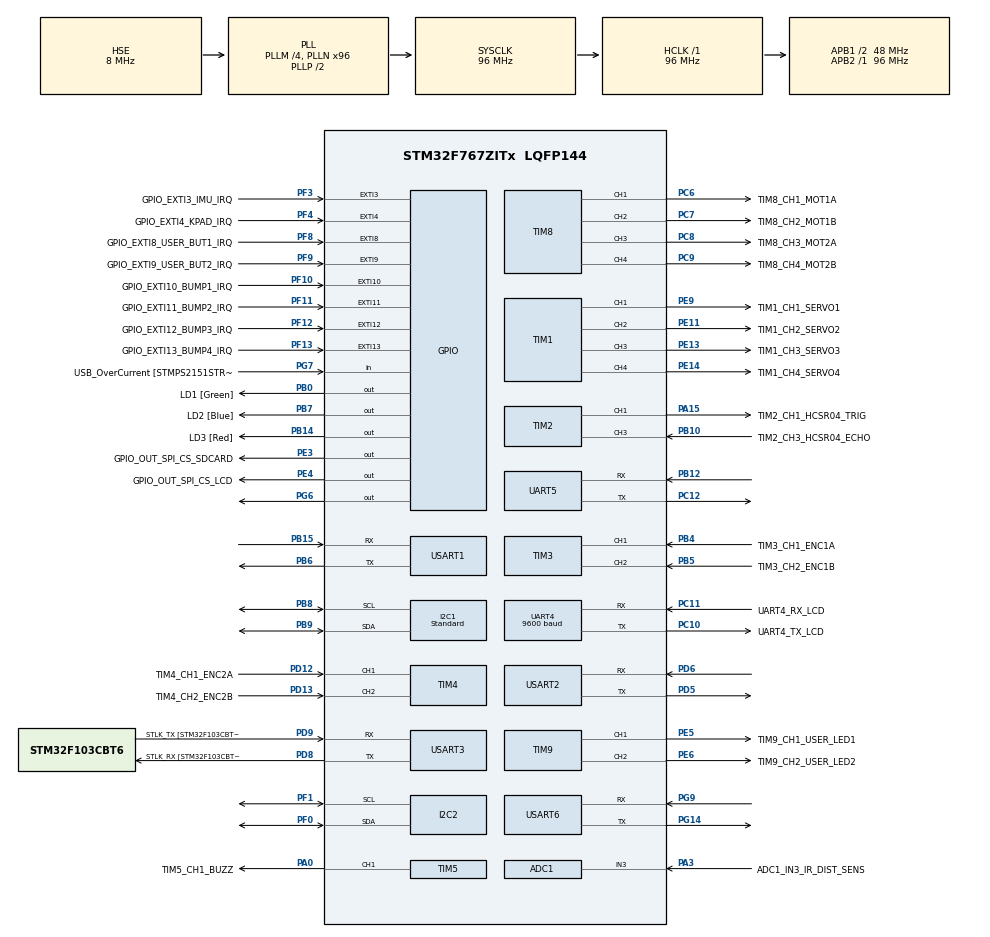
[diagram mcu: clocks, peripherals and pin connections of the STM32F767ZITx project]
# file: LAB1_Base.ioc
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ADC1.Channel-1\#ChannelRegularConversion=ADC_CHANNEL_3
ADC1.NbrOfConversionFlag=1
ADC1.Rank-1\#ChannelRegularConversion=1
ADC1.SamplingTime-1\#ChannelRegularConversion=ADC_SAMPLETIME_3CYCLES
ADC1.master=1
I2C1.I2C_Speed_Mode=I2C_Standard
I2C1.Timing=0x20303E5D
I2C2.Timing=0x20303E5D
Mcu.Family=STM32F7
Mcu.Name=STM32F767ZITx
Mcu.Package=LQFP144
Mcu.UserConstants=TIM8_PSC_VALUE,959;TIM8_ARR_VALUE,400;TIM1_PSC_VALUE,959;TIM1_ARR_VALUE,200
NVIC.EXTI4_IRQn=true\:1\:0\:true\:false\:true\:true\:true\:true
NVIC.PriorityGroup=NVIC_PRIORITYGROUP_4
PA0/WKUP.GPIO_Label=TIM5_CH1_BUZZ
PA0/WKUP.Signal=S_TIM5_CH1
PA1.GPIO_Label=RMII_REF_CLK [LAN8742A-CZ-TR_REFCLK0]
PA1.Signal=ETH_REF_CLK
PA10.GPIO_Label=USB_ID
PA10.Signal=USB_OTG_FS_ID
PA11.GPIO_Label=USB_DM
PA11.Signal=USB_OTG_FS_DM
PA12.GPIO_Label=USB_DP
PA12.Signal=USB_OTG_FS_DP
PA13.GPIO_Label=TMS
PA13.Mode=Serial_Wire
PA13.Signal=SYS_JTMS-SWDIO
PA14.GPIO_Label=TCK
PA14.Mode=Serial_Wire
PA14.Signal=SYS_JTCK-SWCLK
PA15.GPIO_Label=TIM2_CH1_HCSR04_TRIG
PA15.Signal=S_TIM2_CH1_ETR
PA2.GPIO_Label=RMII_MDIO [LAN8742A-CZ-TR_MDIO]
PA2.Signal=ETH_MDIO
PA3.GPIO_Label=ADC1_IN3_IR_DIST_SENS
PA3.Signal=ADCx_IN3
PA7.GPIO_Label=RMII_CRS_DV [LAN8742A-CZ-TR_CRS_DV]
PA7.Signal=ETH_CRS_DV
PA8.GPIO_Label=USB_SOF [TP1]
PA8.Signal=USB_OTG_FS_SOF
PA9.GPIO_Label=USB_VBUS
PA9.Signal=USB_OTG_FS_VBUS
PB0.GPIO_Label=LD1 [Green]
PB0.Signal=GPIO_Output
PB10.GPIO_Label=TIM2_CH3_HCSR04_ECHO
PB10.Signal=S_TIM2_CH3
PB12.Mode=Asynchronous
PB12.Signal=UART5_RX
PB13.GPIO_Label=RMII_TXD1 [LAN8742A-CZ-TR_TXD1]
PB13.Signal=ETH_TXD1
PB14.GPIO_Label=LD3 [Red]
PB14.Signal=GPIO_Output
PB15.Mode=Asynchronous
PB15.Signal=USART1_RX
PB3.GPIO_Label=SWO
PB3.Signal=SYS_JTDO-SWO
PB4.GPIO_Label=TIM3_CH1_ENC1A
PB4.Signal=S_TIM3_CH1
PB5.GPIO_Label=TIM3_CH2_ENC1B
PB5.Signal=S_TIM3_CH2
PB6.Mode=Asynchronous
PB6.Signal=USART1_TX
PB7.GPIO_Label=LD2 [Blue]
PB7.Signal=GPIO_Output
PB8.GPIO_Pu=GPIO_PULLUP
PB8.Mode=I2C
PB8.Signal=I2C1_SCL
PB9.GPIO_Pu=GPIO_PULLUP
PB9.Mode=I2C
PB9.Signal=I2C1_SDA
PC1.GPIO_Label=RMII_MDC [LAN8742A-CZ-TR_MDC]
PC1.Signal=ETH_MDC
PC10.GPIO_Label=UART4_TX_LCD
PC10.Mode=Asynchronous
PC10.Signal=UART4_TX
PC11.GPIO_Label=UART4_RX_LCD
PC11.Mode=Asynchronous
PC11.Signal=UART4_RX
PC12.Mode=Asynchronous
PC12.Signal=UART5_TX
PC14/OSC32_IN.Mode=LSE-External-Oscillator
PC14/OSC32_IN.Signal=RCC_OSC32_IN
PC15/OSC32_OUT.Mode=LSE-External-Oscillator
PC15/OSC32_OUT.Signal=RCC_OSC32_OUT
PC4.GPIO_Label=RMII_RXD0 [LAN8742A-CZ-TR_RXD0]
PC4.Signal=ETH_RXD0
PC5.GPIO_Label=RMII_RXD1 [LAN8742A-CZ-TR_RXD1]
PC5.Signal=ETH_RXD1
PC6.GPIO_Label=TIM8_CH1_MOT1A
PC6.Signal=S_TIM8_CH1
PC7.GPIO_Label=TIM8_CH2_MOT1B
PC7.Signal=S_TIM8_CH2
PC8.GPIO_Label=TIM8_CH3_MOT2A
PC8.Signal=S_TIM8_CH3
PC9.GPIO_Label=TIM8_CH4_MOT2B
PC9.Signal=S_TIM8_CH4
PD12.GPIO_Label=TIM4_CH1_ENC2A
PD12.Signal=S_TIM4_CH1
PD13.GPIO_Label=TIM4_CH2_ENC2B
PD13.Signal=S_TIM4_CH2
PD5.Mode=Asynchronous
PD5.Signal=USART2_TX
PD6.Mode=Asynchronous
PD6.Signal=USART2_RX
PD8.GPIO_Label=STLK_RX [STM32F103CBT6_PA3]
PD8.Mode=Asynchronous
PD8.Signal=USART3_TX
PD9.GPIO_Label=STLK_TX [STM32F103CBT6_PA2]
PD9.Mode=Asynchronous
PD9.Signal=USART3_RX
PE11.GPIO_Label=TIM1_CH2_SERVO2
PE11.Signal=S_TIM1_CH2
PE13.GPIO_Label=TIM1_CH3_SERVO3
PE13.Signal=S_TIM1_CH3
PE14.GPIO_Label=TIM1_CH4_SERVO4
PE14.Signal=S_TIM1_CH4
PE3.GPIO_Label=GPIO_OUT_SPI_CS_SDCARD
PE3.Signal=GPIO_Output
PE4.GPIO_Label=GPIO_OUT_SPI_CS_LCD
PE4.Signal=GPIO_Output
PE5.GPIO_Label=TIM9_CH1_USER_LED1
PE5.Signal=S_TIM9_CH1
PE6.GPIO_Label=TIM9_CH2_USER_LED2
PE6.Signal=S_TIM9_CH2
PE9.GPIO_Label=TIM1_CH1_SERVO1
PE9.Signal=S_TIM1_CH1
PF0.GPIO_Pu=GPIO_PULLUP
PF0.Mode=I2C
PF0.Signal=I2C2_SDA
PF1.GPIO_Pu=GPIO_PULLUP
PF1.Mode=I2C
PF1.Signal=I2C2_SCL
PF10.GPIO_Label=GPIO_EXTI10_BUMP1_IRQ
PF10.Signal=GPXTI10
PF11.GPIO_Label=GPIO_EXTI11_BUMP2_IRQ
PF11.Signal=GPXTI11
PF12.GPIO_Label=GPIO_EXTI12_BUMP3_IRQ
PF12.Signal=GPXTI12
PF13.GPIO_Label=GPIO_EXTI13_BUMP4_IRQ
PF13.Signal=GPXTI13
PF3.GPIO_Label=GPIO_EXTI3_IMU_IRQ
PF3.Signal=GPXTI3
PF4.GPIO_Label=GPIO_EXTI4_KPAD_IRQ
PF4.GPIO_ModeDefaultEXTI=GPIO_MODE_IT_FALLING
PF4.Signal=GPXTI4
PF8.GPIO_Label=GPIO_EXTI8_USER_BUT1_IRQ
PF8.Signal=GPXTI8
PF9.GPIO_Label=GPIO_EXTI9_USER_BUT2_IRQ
PF9.Signal=GPXTI9
PG11.GPIO_Label=RMII_TX_EN [LAN8742A-CZ-TR_TXEN]
PG11.Signal=ETH_TX_EN
PG13.GPIO_Label=RMII_TXD0 [LAN8742A-CZ-TR_TXD0]
PG13.Signal=ETH_TXD0
PG14.Mode=Asynchronous
PG14.Signal=USART6_TX
PG6.Signal=GPIO_Output
PG7.GPIO_Label=USB_OverCurrent [STMPS2151STR_FAULT]
PG7.Signal=GPIO_Input
PG9.Mode=Asynchronous
PG9.Signal=USART6_RX
PH0/OSC_IN.GPIO_Label=MCO [STM32F103CBT6_PA8]
PH0/OSC_IN.Mode=HSE-External-Clock-Source
PH0/OSC_IN.Signal=RCC_OSC_IN
PH1/OSC_OUT.Mode=HSE-External-Clock-Source
PH1/OSC_OUT.Signal=RCC_OSC_OUT
ProjectManager.HeapSize=0x200
ProjectManager.StackSize=0x400
ProjectManager.TargetToolchain=STM32CubeIDE
RCC.48MHZClocksFreq_Value=24000000
RCC.AHBFreq_Value=96000000
RCC.APB1CLKDivider=RCC_HCLK_DIV2
RCC.APB1Freq_Value=48000000
RCC.APB1TimFreq_Value=96000000
RCC.APB2Freq_Value=96000000
RCC.APB2TimFreq_Value=96000000
RCC.CortexFreq_Value=96000000
RCC.HCLKFreq_Value=96000000
RCC.HSE_VALUE=8000000
RCC.HSI_VALUE=16000000
RCC.PLLM=4
RCC.PLLMUL=RCC_PLL_MUL9
RCC.PLLN=96
RCC.PLLQ=4
RCC.PLLSourceVirtual=RCC_PLLSOURCE_HSE
RCC.PRESCALERUSB=RCC_USBCLKSOURCE_PLL_DIV1_5
RCC.SYSCLKFreq_VALUE=96000000
RCC.SYSCLKSource=RCC_SYSCLKSOURCE_PLLCLK
RCC.SYSCLKSourceVirtual=RCC_SYSCLKSOURCE_PLLCLK
RCC.USBFreq_Value=48000000
RCC.VCOOutputFreq_Value=192000000
SH.ADCx_IN3.0=ADC1_IN3,IN3
SH.S_TIM1_CH1.0=TIM1_CH1,PWM Generation1 CH1
SH.S_TIM1_CH2.0=TIM1_CH2,PWM Generation2 CH2
SH.S_TIM1_CH3.0=TIM1_CH3,PWM Generation3 CH3
SH.S_TIM1_CH4.0=TIM1_CH4,PWM Generation4 CH4
SH.S_TIM2_CH1_ETR.0=TIM2_CH1,PWM Generation1 CH1
SH.S_TIM2_CH3.0=TIM2_CH3,Input_Capture3_from_TI3
SH.S_TIM3_CH1.0=TIM3_CH1,Encoder_Interface
SH.S_TIM3_CH2.0=TIM3_CH2,Encoder_Interface
SH.S_TIM4_CH1.0=TIM4_CH1,Encoder_Interface
SH.S_TIM4_CH2.0=TIM4_CH2,Encoder_Interface
SH.S_TIM5_CH1.0=TIM5_CH1,PWM Generation1 CH1
SH.S_TIM8_CH1.0=TIM8_CH1,PWM Generation1 CH1
SH.S_TIM8_CH2.0=TIM8_CH2,PWM Generation2 CH2
SH.S_TIM8_CH3.0=TIM8_CH3,PWM Generation3 CH3
SH.S_TIM8_CH4.0=TIM8_CH4,PWM Generation4 CH4
SH.S_TIM9_CH1.0=TIM9_CH1,PWM Generation1 CH1
SH.S_TIM9_CH2.0=TIM9_CH2,PWM Generation2 CH2
TIM1.Channel-PWM\ Generation1\ CH1=TIM_CHANNEL_1
TIM1.Channel-PWM\ Generation2\ CH2=TIM_CHANNEL_2
TIM1.Channel-PWM\ Generation3\ CH3=TIM_CHANNEL_3
TIM1.Channel-PWM\ Generation4\ CH4=TIM_CHANNEL_4
TIM1.Period=TIM1_ARR_VALUE
TIM1.Prescaler=TIM1_PSC_VALUE
TIM2.Channel-Input_Capture3_from_TI3=TIM_CHANNEL_3
TIM2.Channel-PWM\ Generation1\ CH1=TIM_CHANNEL_1
TIM5.Channel-PWM\ Generation1\ CH1=TIM_CHANNEL_1
TIM8.Channel-PWM\ Generation1\ CH1=TIM_CHANNEL_1
TIM8.Channel-PWM\ Generation2\ CH2=TIM_CHANNEL_2
TIM8.Channel-PWM\ Generation3\ CH3=TIM_CHANNEL_3
TIM8.Channel-PWM\ Generation4\ CH4=TIM_CHANNEL_4
TIM8.Period=TIM8_ARR_VALUE
TIM8.Prescaler=TIM8_PSC_VALUE
TIM9.Channel-PWM\ Generation1\ CH1=TIM_CHANNEL_1
TIM9.Channel-PWM\ Generation2\ CH2=TIM_CHANNEL_2
UART4.BaudRate=9600
USART1.VirtualMode-Asynchronous=VM_ASYNC
USART2.VirtualMode-Asynchronous=VM_ASYNC
USART3.VirtualMode-Asynchronous=VM_ASYNC
USART6.VirtualMode-Asynchronous=VM_ASYNC
VP_TIM1_VS_ClockSourceINT.Mode=Internal
VP_TIM2_VS_ClockSourceINT.Mode=Internal
VP_TIM5_VS_ClockSourceINT.Mode=Internal
VP_TIM8_VS_ClockSourceINT.Mode=Internal
board=NUCLEO-F767ZI

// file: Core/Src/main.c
/* USER CODE BEGIN Header */
/**
 ******************************************************************************
 * @file           : main.c
 * @brief          : Main program body
 ******************************************************************************
 * @attention
 *
 * <h2><center>&copy; Copyright (c) 2021 STMicroelectronics.
 * All rights reserved.</center></h2>
 *
 * This software component is licensed by ST under BSD 3-Clause license,
 * the "License"; You may not use this file except in compliance with the
 * License. You may obtain a copy of the License at:
 *                        opensource.org/licenses/BSD-3-Clause
 *
 ******************************************************************************
 */
/* USER CODE END Header */
#include "main.h"

/* USER CODE BEGIN Includes */

/*** NEEDED FOR ENABLING PRINTF ***/
#include <stdio.h>
#include <string.h>
#include "print_utils.h"

/*** NEEDED FOR COMMUNICATING WITH THE SX1509 ***/
#include "SX1509_Registers.h"
#include "SX1509_Utils.h"
/* USER CODE END Includes */

/* USER CODE BEGIN PD */
uint8_t data = 0;
/* USER CODE END PD */

ADC_HandleTypeDef hadc1;

I2C_HandleTypeDef hi2c1;
I2C_HandleTypeDef hi2c2;

TIM_HandleTypeDef htim1;
TIM_HandleTypeDef htim2;
TIM_HandleTypeDef htim3;
TIM_HandleTypeDef htim4;
TIM_HandleTypeDef htim5;
TIM_HandleTypeDef htim8;
TIM_HandleTypeDef htim9;

UART_HandleTypeDef huart4;
UART_HandleTypeDef huart5;
UART_HandleTypeDef huart1;
UART_HandleTypeDef huart2;
UART_HandleTypeDef huart3;
UART_HandleTypeDef huart6;

/* USER CODE BEGIN PV */
const char keypadLayout[4][4] = {
    {'*', '0', '#', 'D'},
    {'7', '8', '9', 'C'},
    {'4', '5', '6', 'B'},
    {'1', '2', '3', 'A'}};
/* USER CODE END PV */

void SystemClock_Config(void);
static void MX_GPIO_Init(void);
static void MX_USART3_UART_Init(void);
static void MX_ADC1_Init(void);
static void MX_I2C1_Init(void);
static void MX_I2C2_Init(void);
static void MX_TIM1_Init(void);
static void MX_TIM2_Init(void);
static void MX_TIM3_Init(void);
static void MX_TIM4_Init(void);
static void MX_TIM5_Init(void);
static void MX_TIM8_Init(void);
static void MX_UART4_Init(void);
static void MX_UART5_Init(void);
static void MX_USART1_UART_Init(void);
static void MX_USART2_UART_Init(void);
static void MX_TIM9_Init(void);
static void MX_USART6_UART_Init(void);

/* USER CODE BEGIN 0 */

void HAL_GPIO_EXTI_Callback(uint16_t GPIO_Pin)
{
	printf("Interrupt on pin (%d).\n", GPIO_Pin);

	if (GPIO_Pin == GPIO_PIN_4)
	{
    /* Keypad interrupt */
    /**
     * Here you need to read REG_KEY_DATA_1 (status of the column of the keypad) and REG_KEY_DATA_2 (status of the row of the keypad).
     * The addresses of the register are defined in the SX1509_Registers.h file.
     * If you don't read the registers, the interrupt will be NOT triggered again.
     * For an example of how to read/write the registers, see the Init_SX1509 function in the SX1509_Utils.h file.
     */
	  printf("Interrupt from the keypad\n");
	}

}

/* USER CODE END 0 */

int main(void)
{

  /* MCU Configuration--------------------------------------------------------*/

  /* Reset of all peripherals, Initializes the Flash interface and the Systick. */
  HAL_Init();

  /* Configure the system clock */
  SystemClock_Config();

  /* Initialize all configured peripherals */
  MX_GPIO_Init();
  MX_USART3_UART_Init();
  MX_ADC1_Init();
  MX_I2C1_Init();
  MX_I2C2_Init();
  MX_TIM1_Init();
  MX_TIM2_Init();
  MX_TIM3_Init();
  MX_TIM4_Init();
  MX_TIM5_Init();
  MX_TIM8_Init();
  MX_UART4_Init();
  MX_UART5_Init();
  MX_USART1_UART_Init();
  MX_USART2_UART_Init();
  MX_TIM9_Init();
  MX_USART6_UART_Init();
  /* USER CODE BEGIN 2 */

  /* Disable LCD SPI SS */
  HAL_GPIO_WritePin(GPIO_OUT_SPI_CS_LCD_GPIO_Port, GPIO_OUT_SPI_CS_LCD_Pin, GPIO_PIN_SET);

  Init_SX1509();

  printf("Ready\n");

  /* USER CODE END 2 */

  /* Infinite loop */
  while (1)
  {

  }
}

void SystemClock_Config(void)
{
  RCC_OscInitTypeDef RCC_OscInitStruct = {0};
  RCC_ClkInitTypeDef RCC_ClkInitStruct = {0};

  /** Configure LSE Drive Capability
  */
  HAL_PWR_EnableBkUpAccess();

  /** Configure the main internal regulator output voltage
  */
  __HAL_RCC_PWR_CLK_ENABLE();
  __HAL_PWR_VOLTAGESCALING_CONFIG(PWR_REGULATOR_VOLTAGE_SCALE3);

  /** Initializes the RCC Oscillators according to the specified parameters
  * in the RCC_OscInitTypeDef structure.
  */
  RCC_OscInitStruct.OscillatorType = RCC_OSCILLATORTYPE_HSE;
  RCC_OscInitStruct.HSEState = RCC_HSE_BYPASS;
  RCC_OscInitStruct.PLL.PLLState = RCC_PLL_ON;
  RCC_OscInitStruct.PLL.PLLSource = RCC_PLLSOURCE_HSE;
  RCC_OscInitStruct.PLL.PLLM = 4;
  RCC_OscInitStruct.PLL.PLLN = 96;
  RCC_OscInitStruct.PLL.PLLP = RCC_PLLP_DIV2;
  RCC_OscInitStruct.PLL.PLLQ = 4;
  RCC_OscInitStruct.PLL.PLLR = 2;
  if (HAL_RCC_OscConfig(&RCC_OscInitStruct) != HAL_OK)
  {
    Error_Handler();
  }

  /** Activate the Over-Drive mode
  */
  if (HAL_PWREx_EnableOverDrive() != HAL_OK)
  {
    Error_Handler();
  }

  /** Initializes the CPU, AHB and APB buses clocks
  */
  RCC_ClkInitStruct.ClockType = RCC_CLOCKTYPE_HCLK|RCC_CLOCKTYPE_SYSCLK
                              |RCC_CLOCKTYPE_PCLK1|RCC_CLOCKTYPE_PCLK2;
  RCC_ClkInitStruct.SYSCLKSource = RCC_SYSCLKSOURCE_PLLCLK;
  RCC_ClkInitStruct.AHBCLKDivider = RCC_SYSCLK_DIV1;
  RCC_ClkInitStruct.APB1CLKDivider = RCC_HCLK_DIV2;
  RCC_ClkInitStruct.APB2CLKDivider = RCC_HCLK_DIV1;

  if (HAL_RCC_ClockConfig(&RCC_ClkInitStruct, FLASH_LATENCY_3) != HAL_OK)
  {
    Error_Handler();
  }
}

static void MX_ADC1_Init(void)
{

  ADC_ChannelConfTypeDef sConfig = {0};

  /** Configure the global features of the ADC (Clock, Resolution, Data Alignment and number of conversion)
  */
  hadc1.Instance = ADC1;
  hadc1.Init.ClockPrescaler = ADC_CLOCK_SYNC_PCLK_DIV4;
  hadc1.Init.Resolution = ADC_RESOLUTION_12B;
  hadc1.Init.ScanConvMode = ADC_SCAN_DISABLE;
  hadc1.Init.ContinuousConvMode = DISABLE;
  hadc1.Init.DiscontinuousConvMode = DISABLE;
  hadc1.Init.ExternalTrigConvEdge = ADC_EXTERNALTRIGCONVEDGE_NONE;
  hadc1.Init.ExternalTrigConv = ADC_SOFTWARE_START;
  hadc1.Init.DataAlign = ADC_DATAALIGN_RIGHT;
  hadc1.Init.NbrOfConversion = 1;
  hadc1.Init.DMAContinuousRequests = DISABLE;
  hadc1.Init.EOCSelection = ADC_EOC_SINGLE_CONV;
  if (HAL_ADC_Init(&hadc1) != HAL_OK)
  {
    Error_Handler();
  }

  /** Configure for the selected ADC regular channel its corresponding rank in the sequencer and its sample time.
  */
  sConfig.Channel = ADC_CHANNEL_3;
  sConfig.Rank = ADC_REGULAR_RANK_1;
  sConfig.SamplingTime = ADC_SAMPLETIME_3CYCLES;
  if (HAL_ADC_ConfigChannel(&hadc1, &sConfig) != HAL_OK)
  {
    Error_Handler();
  }

}

static void MX_I2C1_Init(void)
{

  hi2c1.Instance = I2C1;
  hi2c1.Init.Timing = 0x20303E5D;
  hi2c1.Init.OwnAddress1 = 0;
  hi2c1.Init.AddressingMode = I2C_ADDRESSINGMODE_7BIT;
  hi2c1.Init.DualAddressMode = I2C_DUALADDRESS_DISABLE;
  hi2c1.Init.OwnAddress2 = 0;
  hi2c1.Init.OwnAddress2Masks = I2C_OA2_NOMASK;
  hi2c1.Init.GeneralCallMode = I2C_GENERALCALL_DISABLE;
  hi2c1.Init.NoStretchMode = I2C_NOSTRETCH_DISABLE;
  if (HAL_I2C_Init(&hi2c1) != HAL_OK)
  {
    Error_Handler();
  }

  /** Configure Analogue filter
  */
  if (HAL_I2CEx_ConfigAnalogFilter(&hi2c1, I2C_ANALOGFILTER_ENABLE) != HAL_OK)
  {
    Error_Handler();
  }

  /** Configure Digital filter
  */
  if (HAL_I2CEx_ConfigDigitalFilter(&hi2c1, 0) != HAL_OK)
  {
    Error_Handler();
  }

}

static void MX_I2C2_Init(void)
{

  hi2c2.Instance = I2C2;
  hi2c2.Init.Timing = 0x20303E5D;
  hi2c2.Init.OwnAddress1 = 0;
  hi2c2.Init.AddressingMode = I2C_ADDRESSINGMODE_7BIT;
  hi2c2.Init.DualAddressMode = I2C_DUALADDRESS_DISABLE;
  hi2c2.Init.OwnAddress2 = 0;
  hi2c2.Init.OwnAddress2Masks = I2C_OA2_NOMASK;
  hi2c2.Init.GeneralCallMode = I2C_GENERALCALL_DISABLE;
  hi2c2.Init.NoStretchMode = I2C_NOSTRETCH_DISABLE;
  if (HAL_I2C_Init(&hi2c2) != HAL_OK)
  {
    Error_Handler();
  }

  /** Configure Analogue filter
  */
  if (HAL_I2CEx_ConfigAnalogFilter(&hi2c2, I2C_ANALOGFILTER_ENABLE) != HAL_OK)
  {
    Error_Handler();
  }

  /** Configure Digital filter
  */
  if (HAL_I2CEx_ConfigDigitalFilter(&hi2c2, 0) != HAL_OK)
  {
    Error_Handler();
  }

}

static void MX_TIM1_Init(void)
{

  TIM_ClockConfigTypeDef sClockSourceConfig = {0};
  TIM_MasterConfigTypeDef sMasterConfig = {0};
  TIM_OC_InitTypeDef sConfigOC = {0};
  TIM_BreakDeadTimeConfigTypeDef sBreakDeadTimeConfig = {0};

  htim1.Instance = TIM1;
  htim1.Init.Prescaler = TIM1_PSC_VALUE;
  htim1.Init.CounterMode = TIM_COUNTERMODE_UP;
  htim1.Init.Period = TIM1_ARR_VALUE;
  htim1.Init.ClockDivision = TIM_CLOCKDIVISION_DIV1;
  htim1.Init.RepetitionCounter = 0;
  htim1.Init.AutoReloadPreload = TIM_AUTORELOAD_PRELOAD_DISABLE;
  if (HAL_TIM_Base_Init(&htim1) != HAL_OK)
  {
    Error_Handler();
  }
  sClockSourceConfig.ClockSource = TIM_CLOCKSOURCE_INTERNAL;
  if (HAL_TIM_ConfigClockSource(&htim1, &sClockSourceConfig) != HAL_OK)
  {
    Error_Handler();
  }
  if (HAL_TIM_PWM_Init(&htim1) != HAL_OK)
  {
    Error_Handler();
  }
  sMasterConfig.MasterOutputTrigger = TIM_TRGO_RESET;
  sMasterConfig.MasterOutputTrigger2 = TIM_TRGO2_RESET;
  sMasterConfig.MasterSlaveMode = TIM_MASTERSLAVEMODE_DISABLE;
  if (HAL_TIMEx_MasterConfigSynchronization(&htim1, &sMasterConfig) != HAL_OK)
  {
    Error_Handler();
  }
  sConfigOC.OCMode = TIM_OCMODE_PWM1;
  sConfigOC.Pulse = 0;
  sConfigOC.OCPolarity = TIM_OCPOLARITY_HIGH;
  sConfigOC.OCNPolarity = TIM_OCNPOLARITY_HIGH;
  sConfigOC.OCFastMode = TIM_OCFAST_DISABLE;
  sConfigOC.OCIdleState = TIM_OCIDLESTATE_RESET;
  sConfigOC.OCNIdleState = TIM_OCNIDLESTATE_RESET;
  if (HAL_TIM_PWM_ConfigChannel(&htim1, &sConfigOC, TIM_CHANNEL_1) != HAL_OK)
  {
    Error_Handler();
  }
  if (HAL_TIM_PWM_ConfigChannel(&htim1, &sConfigOC, TIM_CHANNEL_2) != HAL_OK)
  {
    Error_Handler();
  }
  if (HAL_TIM_PWM_ConfigChannel(&htim1, &sConfigOC, TIM_CHANNEL_3) != HAL_OK)
  {
    Error_Handler();
  }
  if (HAL_TIM_PWM_ConfigChannel(&htim1, &sConfigOC, TIM_CHANNEL_4) != HAL_OK)
  {
    Error_Handler();
  }
  sBreakDeadTimeConfig.OffStateRunMode = TIM_OSSR_DISABLE;
  sBreakDeadTimeConfig.OffStateIDLEMode = TIM_OSSI_DISABLE;
  sBreakDeadTimeConfig.LockLevel = TIM_LOCKLEVEL_OFF;
  sBreakDeadTimeConfig.DeadTime = 0;
  sBreakDeadTimeConfig.BreakState = TIM_BREAK_DISABLE;
  sBreakDeadTimeConfig.BreakPolarity = TIM_BREAKPOLARITY_HIGH;
  sBreakDeadTimeConfig.BreakFilter = 0;
  sBreakDeadTimeConfig.Break2State = TIM_BREAK2_DISABLE;
  sBreakDeadTimeConfig.Break2Polarity = TIM_BREAK2POLARITY_HIGH;
  sBreakDeadTimeConfig.Break2Filter = 0;
  sBreakDeadTimeConfig.AutomaticOutput = TIM_AUTOMATICOUTPUT_DISABLE;
  if (HAL_TIMEx_ConfigBreakDeadTime(&htim1, &sBreakDeadTimeConfig) != HAL_OK)
  {
    Error_Handler();
  }
  HAL_TIM_MspPostInit(&htim1);

}

static void MX_TIM2_Init(void)
{

  TIM_ClockConfigTypeDef sClockSourceConfig = {0};
  TIM_MasterConfigTypeDef sMasterConfig = {0};
  TIM_OC_InitTypeDef sConfigOC = {0};
  TIM_IC_InitTypeDef sConfigIC = {0};

  htim2.Instance = TIM2;
  htim2.Init.Prescaler = 0;
  htim2.Init.CounterMode = TIM_COUNTERMODE_UP;
  htim2.Init.Period = 4294967295;
  htim2.Init.ClockDivision = TIM_CLOCKDIVISION_DIV1;
  htim2.Init.AutoReloadPreload = TIM_AUTORELOAD_PRELOAD_DISABLE;
  if (HAL_TIM_Base_Init(&htim2) != HAL_OK)
  {
    Error_Handler();
  }
  sClockSourceConfig.ClockSource = TIM_CLOCKSOURCE_INTERNAL;
  if (HAL_TIM_ConfigClockSource(&htim2, &sClockSourceConfig) != HAL_OK)
  {
    Error_Handler();
  }
  if (HAL_TIM_PWM_Init(&htim2) != HAL_OK)
  {
    Error_Handler();
  }
  if (HAL_TIM_IC_Init(&htim2) != HAL_OK)
  {
    Error_Handler();
  }
  sMasterConfig.MasterOutputTrigger = TIM_TRGO_RESET;
  sMasterConfig.MasterSlaveMode = TIM_MASTERSLAVEMODE_DISABLE;
  if (HAL_TIMEx_MasterConfigSynchronization(&htim2, &sMasterConfig) != HAL_OK)
  {
    Error_Handler();
  }
  sConfigOC.OCMode = TIM_OCMODE_PWM1;
  sConfigOC.Pulse = 0;
  sConfigOC.OCPolarity = TIM_OCPOLARITY_HIGH;
  sConfigOC.OCFastMode = TIM_OCFAST_DISABLE;
  if (HAL_TIM_PWM_ConfigChannel(&htim2, &sConfigOC, TIM_CHANNEL_1) != HAL_OK)
  {
    Error_Handler();
  }
  sConfigIC.ICPolarity = TIM_INPUTCHANNELPOLARITY_RISING;
  sConfigIC.ICSelection = TIM_ICSELECTION_DIRECTTI;
  sConfigIC.ICPrescaler = TIM_ICPSC_DIV1;
  sConfigIC.ICFilter = 0;
  if (HAL_TIM_IC_ConfigChannel(&htim2, &sConfigIC, TIM_CHANNEL_3) != HAL_OK)
  {
    Error_Handler();
  }
  HAL_TIM_MspPostInit(&htim2);

}

static void MX_TIM3_Init(void)
{

  TIM_Encoder_InitTypeDef sConfig = {0};
  TIM_MasterConfigTypeDef sMasterConfig = {0};

  htim3.Instance = TIM3;
  htim3.Init.Prescaler = 0;
  htim3.Init.CounterMode = TIM_COUNTERMODE_UP;
  htim3.Init.Period = 65535;
  htim3.Init.ClockDivision = TIM_CLOCKDIVISION_DIV1;
  htim3.Init.AutoReloadPreload = TIM_AUTORELOAD_PRELOAD_DISABLE;
  sConfig.EncoderMode = TIM_ENCODERMODE_TI1;
  sConfig.IC1Polarity = TIM_ICPOLARITY_RISING;
  sConfig.IC1Selection = TIM_ICSELECTION_DIRECTTI;
  sConfig.IC1Prescaler = TIM_ICPSC_DIV1;
  sConfig.IC1Filter = 0;
  sConfig.IC2Polarity = TIM_ICPOLARITY_RISING;
  sConfig.IC2Selection = TIM_ICSELECTION_DIRECTTI;
  sConfig.IC2Prescaler = TIM_ICPSC_DIV1;
  sConfig.IC2Filter = 0;
  if (HAL_TIM_Encoder_Init(&htim3, &sConfig) != HAL_OK)
  {
    Error_Handler();
  }
  sMasterConfig.MasterOutputTrigger = TIM_TRGO_RESET;
  sMasterConfig.MasterSlaveMode = TIM_MASTERSLAVEMODE_DISABLE;
  if (HAL_TIMEx_MasterConfigSynchronization(&htim3, &sMasterConfig) != HAL_OK)
  {
    Error_Handler();
  }

}

static void MX_TIM4_Init(void)
{

  TIM_Encoder_InitTypeDef sConfig = {0};
  TIM_MasterConfigTypeDef sMasterConfig = {0};

  htim4.Instance = TIM4;
  htim4.Init.Prescaler = 0;
  htim4.Init.CounterMode = TIM_COUNTERMODE_UP;
  htim4.Init.Period = 65535;
  htim4.Init.ClockDivision = TIM_CLOCKDIVISION_DIV1;
  htim4.Init.AutoReloadPreload = TIM_AUTORELOAD_PRELOAD_DISABLE;
  sConfig.EncoderMode = TIM_ENCODERMODE_TI1;
  sConfig.IC1Polarity = TIM_ICPOLARITY_RISING;
  sConfig.IC1Selection = TIM_ICSELECTION_DIRECTTI;
  sConfig.IC1Prescaler = TIM_ICPSC_DIV1;
  sConfig.IC1Filter = 0;
  sConfig.IC2Polarity = TIM_ICPOLARITY_RISING;
  sConfig.IC2Selection = TIM_ICSELECTION_DIRECTTI;
  sConfig.IC2Prescaler = TIM_ICPSC_DIV1;
  sConfig.IC2Filter = 0;
  if (HAL_TIM_Encoder_Init(&htim4, &sConfig) != HAL_OK)
  {
    Error_Handler();
  }
  sMasterConfig.MasterOutputTrigger = TIM_TRGO_RESET;
  sMasterConfig.MasterSlaveMode = TIM_MASTERSLAVEMODE_DISABLE;
  if (HAL_TIMEx_MasterConfigSynchronization(&htim4, &sMasterConfig) != HAL_OK)
  {
    Error_Handler();
  }

}

static void MX_TIM5_Init(void)
{

  TIM_ClockConfigTypeDef sClockSourceConfig = {0};
  TIM_MasterConfigTypeDef sMasterConfig = {0};
  TIM_OC_InitTypeDef sConfigOC = {0};

  htim5.Instance = TIM5;
  htim5.Init.Prescaler = 0;
  htim5.Init.CounterMode = TIM_COUNTERMODE_UP;
  htim5.Init.Period = 4294967295;
  htim5.Init.ClockDivision = TIM_CLOCKDIVISION_DIV1;
  htim5.Init.AutoReloadPreload = TIM_AUTORELOAD_PRELOAD_DISABLE;
  if (HAL_TIM_Base_Init(&htim5) != HAL_OK)
  {
    Error_Handler();
  }
  sClockSourceConfig.ClockSource = TIM_CLOCKSOURCE_INTERNAL;
  if (HAL_TIM_ConfigClockSource(&htim5, &sClockSourceConfig) != HAL_OK)
  {
    Error_Handler();
  }
  if (HAL_TIM_PWM_Init(&htim5) != HAL_OK)
  {
    Error_Handler();
  }
  sMasterConfig.MasterOutputTrigger = TIM_TRGO_RESET;
  sMasterConfig.MasterSlaveMode = TIM_MASTERSLAVEMODE_DISABLE;
  if (HAL_TIMEx_MasterConfigSynchronization(&htim5, &sMasterConfig) != HAL_OK)
  {
    Error_Handler();
  }
  sConfigOC.OCMode = TIM_OCMODE_PWM1;
  sConfigOC.Pulse = 0;
  sConfigOC.OCPolarity = TIM_OCPOLARITY_HIGH;
  sConfigOC.OCFastMode = TIM_OCFAST_DISABLE;
  if (HAL_TIM_PWM_ConfigChannel(&htim5, &sConfigOC, TIM_CHANNEL_1) != HAL_OK)
  {
    Error_Handler();
  }
  HAL_TIM_MspPostInit(&htim5);

}

static void MX_TIM8_Init(void)
{

  TIM_ClockConfigTypeDef sClockSourceConfig = {0};
  TIM_MasterConfigTypeDef sMasterConfig = {0};
  TIM_OC_InitTypeDef sConfigOC = {0};
  TIM_BreakDeadTimeConfigTypeDef sBreakDeadTimeConfig = {0};

  htim8.Instance = TIM8;
  htim8.Init.Prescaler = TIM8_PSC_VALUE;
  htim8.Init.CounterMode = TIM_COUNTERMODE_UP;
  htim8.Init.Period = TIM8_ARR_VALUE;
  htim8.Init.ClockDivision = TIM_CLOCKDIVISION_DIV1;
  htim8.Init.RepetitionCounter = 0;
  htim8.Init.AutoReloadPreload = TIM_AUTORELOAD_PRELOAD_DISABLE;
  if (HAL_TIM_Base_Init(&htim8) != HAL_OK)
  {
    Error_Handler();
  }
  sClockSourceConfig.ClockSource = TIM_CLOCKSOURCE_INTERNAL;
  if (HAL_TIM_ConfigClockSource(&htim8, &sClockSourceConfig) != HAL_OK)
  {
    Error_Handler();
  }
  if (HAL_TIM_PWM_Init(&htim8) != HAL_OK)
  {
    Error_Handler();
  }
  sMasterConfig.MasterOutputTrigger = TIM_TRGO_RESET;
  sMasterConfig.MasterOutputTrigger2 = TIM_TRGO2_RESET;
  sMasterConfig.MasterSlaveMode = TIM_MASTERSLAVEMODE_DISABLE;
  if (HAL_TIMEx_MasterConfigSynchronization(&htim8, &sMasterConfig) != HAL_OK)
  {
    Error_Handler();
  }
  sConfigOC.OCMode = TIM_OCMODE_PWM1;
  sConfigOC.Pulse = 0;
  sConfigOC.OCPolarity = TIM_OCPOLARITY_HIGH;
  sConfigOC.OCNPolarity = TIM_OCNPOLARITY_HIGH;
  sConfigOC.OCFastMode = TIM_OCFAST_DISABLE;
  sConfigOC.OCIdleState = TIM_OCIDLESTATE_RESET;
  sConfigOC.OCNIdleState = TIM_OCNIDLESTATE_RESET;
  if (HAL_TIM_PWM_ConfigChannel(&htim8, &sConfigOC, TIM_CHANNEL_1) != HAL_OK)
  {
    Error_Handler();
  }
  if (HAL_TIM_PWM_ConfigChannel(&htim8, &sConfigOC, TIM_CHANNEL_2) != HAL_OK)
  {
    Error_Handler();
  }
  if (HAL_TIM_PWM_ConfigChannel(&htim8, &sConfigOC, TIM_CHANNEL_3) != HAL_OK)
  {
    Error_Handler();
  }
  if (HAL_TIM_PWM_ConfigChannel(&htim8, &sConfigOC, TIM_CHANNEL_4) != HAL_OK)
  {
    Error_Handler();
  }
  sBreakDeadTimeConfig.OffStateRunMode = TIM_OSSR_DISABLE;
  sBreakDeadTimeConfig.OffStateIDLEMode = TIM_OSSI_DISABLE;
  sBreakDeadTimeConfig.LockLevel = TIM_LOCKLEVEL_OFF;
  sBreakDeadTimeConfig.DeadTime = 0;
  sBreakDeadTimeConfig.BreakState = TIM_BREAK_DISABLE;
  sBreakDeadTimeConfig.BreakPolarity = TIM_BREAKPOLARITY_HIGH;
  sBreakDeadTimeConfig.BreakFilter = 0;
  sBreakDeadTimeConfig.Break2State = TIM_BREAK2_DISABLE;
  sBreakDeadTimeConfig.Break2Polarity = TIM_BREAK2POLARITY_HIGH;
  sBreakDeadTimeConfig.Break2Filter = 0;
  sBreakDeadTimeConfig.AutomaticOutput = TIM_AUTOMATICOUTPUT_DISABLE;
  if (HAL_TIMEx_ConfigBreakDeadTime(&htim8, &sBreakDeadTimeConfig) != HAL_OK)
  {
    Error_Handler();
  }
  HAL_TIM_MspPostInit(&htim8);

}

static void MX_TIM9_Init(void)
{

  TIM_OC_InitTypeDef sConfigOC = {0};

  htim9.Instance = TIM9;
  htim9.Init.Prescaler = 0;
  htim9.Init.CounterMode = TIM_COUNTERMODE_UP;
  htim9.Init.Period = 65535;
  htim9.Init.ClockDivision = TIM_CLOCKDIVISION_DIV1;
  htim9.Init.AutoReloadPreload = TIM_AUTORELOAD_PRELOAD_DISABLE;
  if (HAL_TIM_PWM_Init(&htim9) != HAL_OK)
  {
    Error_Handler();
  }
  sConfigOC.OCMode = TIM_OCMODE_PWM1;
  sConfigOC.Pulse = 0;
  sConfigOC.OCPolarity = TIM_OCPOLARITY_HIGH;
  sConfigOC.OCFastMode = TIM_OCFAST_DISABLE;
  if (HAL_TIM_PWM_ConfigChannel(&htim9, &sConfigOC, TIM_CHANNEL_1) != HAL_OK)
  {
    Error_Handler();
  }
  if (HAL_TIM_PWM_ConfigChannel(&htim9, &sConfigOC, TIM_CHANNEL_2) != HAL_OK)
  {
    Error_Handler();
  }
  HAL_TIM_MspPostInit(&htim9);

}

static void MX_UART4_Init(void)
{

  huart4.Instance = UART4;
  huart4.Init.BaudRate = 9600;
  huart4.Init.WordLength = UART_WORDLENGTH_8B;
  huart4.Init.StopBits = UART_STOPBITS_1;
  huart4.Init.Parity = UART_PARITY_NONE;
  huart4.Init.Mode = UART_MODE_TX_RX;
  huart4.Init.HwFlowCtl = UART_HWCONTROL_NONE;
  huart4.Init.OverSampling = UART_OVERSAMPLING_16;
  huart4.Init.OneBitSampling = UART_ONE_BIT_SAMPLE_DISABLE;
  huart4.AdvancedInit.AdvFeatureInit = UART_ADVFEATURE_NO_INIT;
  if (HAL_UART_Init(&huart4) != HAL_OK)
  {
    Error_Handler();
  }

}

static void MX_UART5_Init(void)
{

  huart5.Instance = UART5;
  huart5.Init.BaudRate = 115200;
  huart5.Init.WordLength = UART_WORDLENGTH_8B;
  huart5.Init.StopBits = UART_STOPBITS_1;
  huart5.Init.Parity = UART_PARITY_NONE;
  huart5.Init.Mode = UART_MODE_TX_RX;
  huart5.Init.HwFlowCtl = UART_HWCONTROL_NONE;
  huart5.Init.OverSampling = UART_OVERSAMPLING_16;
  huart5.Init.OneBitSampling = UART_ONE_BIT_SAMPLE_DISABLE;
  huart5.AdvancedInit.AdvFeatureInit = UART_ADVFEATURE_NO_INIT;
  if (HAL_UART_Init(&huart5) != HAL_OK)
  {
    Error_Handler();
  }

}

static void MX_USART1_UART_Init(void)
{

  huart1.Instance = USART1;
  huart1.Init.BaudRate = 115200;
  huart1.Init.WordLength = UART_WORDLENGTH_8B;
  huart1.Init.StopBits = UART_STOPBITS_1;
  huart1.Init.Parity = UART_PARITY_NONE;
  huart1.Init.Mode = UART_MODE_TX_RX;
  huart1.Init.HwFlowCtl = UART_HWCONTROL_NONE;
  huart1.Init.OverSampling = UART_OVERSAMPLING_16;
  huart1.Init.OneBitSampling = UART_ONE_BIT_SAMPLE_DISABLE;
  huart1.AdvancedInit.AdvFeatureInit = UART_ADVFEATURE_NO_INIT;
  if (HAL_UART_Init(&huart1) != HAL_OK)
  {
    Error_Handler();
  }

}

static void MX_USART2_UART_Init(void)
{

  huart2.Instance = USART2;
  huart2.Init.BaudRate = 115200;
  huart2.Init.WordLength = UART_WORDLENGTH_8B;
  huart2.Init.StopBits = UART_STOPBITS_1;
  huart2.Init.Parity = UART_PARITY_NONE;
  huart2.Init.Mode = UART_MODE_TX_RX;
  huart2.Init.HwFlowCtl = UART_HWCONTROL_NONE;
  huart2.Init.OverSampling = UART_OVERSAMPLING_16;
  huart2.Init.OneBitSampling = UART_ONE_BIT_SAMPLE_DISABLE;
  huart2.AdvancedInit.AdvFeatureInit = UART_ADVFEATURE_NO_INIT;
  if (HAL_UART_Init(&huart2) != HAL_OK)
  {
    Error_Handler();
  }

}

static void MX_USART3_UART_Init(void)
{

  huart3.Instance = USART3;
  huart3.Init.BaudRate = 115200;
  huart3.Init.WordLength = UART_WORDLENGTH_8B;
  huart3.Init.StopBits = UART_STOPBITS_1;
  huart3.Init.Parity = UART_PARITY_NONE;
  huart3.Init.Mode = UART_MODE_TX_RX;
  huart3.Init.HwFlowCtl = UART_HWCONTROL_NONE;
  huart3.Init.OverSampling = UART_OVERSAMPLING_16;
  huart3.Init.OneBitSampling = UART_ONE_BIT_SAMPLE_DISABLE;
  huart3.AdvancedInit.AdvFeatureInit = UART_ADVFEATURE_NO_INIT;
  if (HAL_UART_Init(&huart3) != HAL_OK)
  {
    Error_Handler();
  }

}

static void MX_USART6_UART_Init(void)
{

  huart6.Instance = USART6;
  huart6.Init.BaudRate = 115200;
  huart6.Init.WordLength = UART_WORDLENGTH_8B;
  huart6.Init.StopBits = UART_STOPBITS_1;
  huart6.Init.Parity = UART_PARITY_NONE;
  huart6.Init.Mode = UART_MODE_TX_RX;
  huart6.Init.HwFlowCtl = UART_HWCONTROL_NONE;
  huart6.Init.OverSampling = UART_OVERSAMPLING_16;
  huart6.Init.OneBitSampling = UART_ONE_BIT_SAMPLE_DISABLE;
  huart6.AdvancedInit.AdvFeatureInit = UART_ADVFEATURE_NO_INIT;
  if (HAL_UART_Init(&huart6) != HAL_OK)
  {
    Error_Handler();
  }

}

static void MX_GPIO_Init(void)
{
  GPIO_InitTypeDef GPIO_InitStruct = {0};

  /* GPIO Ports Clock Enable */
  __HAL_RCC_GPIOE_CLK_ENABLE();
  __HAL_RCC_GPIOC_CLK_ENABLE();
  __HAL_RCC_GPIOF_CLK_ENABLE();
  __HAL_RCC_GPIOH_CLK_ENABLE();
  __HAL_RCC_GPIOA_CLK_ENABLE();
  __HAL_RCC_GPIOB_CLK_ENABLE();
  __HAL_RCC_GPIOD_CLK_ENABLE();
  __HAL_RCC_GPIOG_CLK_ENABLE();

  /*Configure GPIO pin Output Level */
  HAL_GPIO_WritePin(GPIOE, GPIO_OUT_SPI_CS_SDCARD_Pin|GPIO_OUT_SPI_CS_LCD_Pin, GPIO_PIN_RESET);

  /*Configure GPIO pin Output Level */
  HAL_GPIO_WritePin(GPIOB, LD1_Pin|LD3_Pin|LD2_Pin, GPIO_PIN_RESET);

  /*Configure GPIO pin Output Level */
  HAL_GPIO_WritePin(GPIOG, GPIO_PIN_6, GPIO_PIN_RESET);

  /*Configure GPIO pins : GPIO_OUT_SPI_CS_SDCARD_Pin GPIO_OUT_SPI_CS_LCD_Pin */
  GPIO_InitStruct.Pin = GPIO_OUT_SPI_CS_SDCARD_Pin|GPIO_OUT_SPI_CS_LCD_Pin;
  GPIO_InitStruct.Mode = GPIO_MODE_OUTPUT_PP;
  GPIO_InitStruct.Pull = GPIO_NOPULL;
  GPIO_InitStruct.Speed = GPIO_SPEED_FREQ_LOW;
  HAL_GPIO_Init(GPIOE, &GPIO_InitStruct);

  /*Configure GPIO pins : GPIO_EXTI3_IMU_IRQ_Pin GPIO_EXTI8_USER_BUT1_IRQ_Pin GPIO_EXTI9_USER_BUT2_IRQ_Pin GPIO_EXTI10_BUMP1_IRQ_Pin
                           GPIO_EXTI11_BUMP2_IRQ_Pin GPIO_EXTI12_BUMP3_IRQ_Pin GPIO_EXTI13_BUMP4_IRQ_Pin */
  GPIO_InitStruct.Pin = GPIO_EXTI3_IMU_IRQ_Pin|GPIO_EXTI8_USER_BUT1_IRQ_Pin|GPIO_EXTI9_USER_BUT2_IRQ_Pin|GPIO_EXTI10_BUMP1_IRQ_Pin
                          |GPIO_EXTI11_BUMP2_IRQ_Pin|GPIO_EXTI12_BUMP3_IRQ_Pin|GPIO_EXTI13_BUMP4_IRQ_Pin;
  GPIO_InitStruct.Mode = GPIO_MODE_IT_RISING;
  GPIO_InitStruct.Pull = GPIO_NOPULL;
  HAL_GPIO_Init(GPIOF, &GPIO_InitStruct);

  /*Configure GPIO pin : GPIO_EXTI4_KPAD_IRQ_Pin */
  GPIO_InitStruct.Pin = GPIO_EXTI4_KPAD_IRQ_Pin;
  GPIO_InitStruct.Mode = GPIO_MODE_IT_FALLING;
  GPIO_InitStruct.Pull = GPIO_NOPULL;
  HAL_GPIO_Init(GPIO_EXTI4_KPAD_IRQ_GPIO_Port, &GPIO_InitStruct);

  /*Configure GPIO pins : RMII_MDC_Pin RMII_RXD0_Pin RMII_RXD1_Pin */
  GPIO_InitStruct.Pin = RMII_MDC_Pin|RMII_RXD0_Pin|RMII_RXD1_Pin;
  GPIO_InitStruct.Mode = GPIO_MODE_AF_PP;
  GPIO_InitStruct.Pull = GPIO_NOPULL;
  GPIO_InitStruct.Speed = GPIO_SPEED_FREQ_VERY_HIGH;
  GPIO_InitStruct.Alternate = GPIO_AF11_ETH;
  HAL_GPIO_Init(GPIOC, &GPIO_InitStruct);

  /*Configure GPIO pins : RMII_REF_CLK_Pin RMII_MDIO_Pin RMII_CRS_DV_Pin */
  GPIO_InitStruct.Pin = RMII_REF_CLK_Pin|RMII_MDIO_Pin|RMII_CRS_DV_Pin;
  GPIO_InitStruct.Mode = GPIO_MODE_AF_PP;
  GPIO_InitStruct.Pull = GPIO_NOPULL;
  GPIO_InitStruct.Speed = GPIO_SPEED_FREQ_VERY_HIGH;
  GPIO_InitStruct.Alternate = GPIO_AF11_ETH;
  HAL_GPIO_Init(GPIOA, &GPIO_InitStruct);

  /*Configure GPIO pins : LD1_Pin LD3_Pin LD2_Pin */
  GPIO_InitStruct.Pin = LD1_Pin|LD3_Pin|LD2_Pin;
  GPIO_InitStruct.Mode = GPIO_MODE_OUTPUT_PP;
  GPIO_InitStruct.Pull = GPIO_NOPULL;
  GPIO_InitStruct.Speed = GPIO_SPEED_FREQ_LOW;
  HAL_GPIO_Init(GPIOB, &GPIO_InitStruct);

  /*Configure GPIO pin : RMII_TXD1_Pin */
  GPIO_InitStruct.Pin = RMII_TXD1_Pin;
  GPIO_InitStruct.Mode = GPIO_MODE_AF_PP;
  GPIO_InitStruct.Pull = GPIO_NOPULL;
  GPIO_InitStruct.Speed = GPIO_SPEED_FREQ_VERY_HIGH;
  GPIO_InitStruct.Alternate = GPIO_AF11_ETH;
  HAL_GPIO_Init(RMII_TXD1_GPIO_Port, &GPIO_InitStruct);

  /*Configure GPIO pin : PG6 */
  GPIO_InitStruct.Pin = GPIO_PIN_6;
  GPIO_InitStruct.Mode = GPIO_MODE_OUTPUT_PP;
  GPIO_InitStruct.Pull = GPIO_NOPULL;
  GPIO_InitStruct.Speed = GPIO_SPEED_FREQ_LOW;
  HAL_GPIO_Init(GPIOG, &GPIO_InitStruct);

  /*Configure GPIO pin : USB_OverCurrent_Pin */
  GPIO_InitStruct.Pin = USB_OverCurrent_Pin;
  GPIO_InitStruct.Mode = GPIO_MODE_INPUT;
  GPIO_InitStruct.Pull = GPIO_NOPULL;
  HAL_GPIO_Init(USB_OverCurrent_GPIO_Port, &GPIO_InitStruct);

  /*Configure GPIO pins : USB_SOF_Pin USB_ID_Pin USB_DM_Pin USB_DP_Pin */
  GPIO_InitStruct.Pin = USB_SOF_Pin|USB_ID_Pin|USB_DM_Pin|USB_DP_Pin;
  GPIO_InitStruct.Mode = GPIO_MODE_AF_PP;
  GPIO_InitStruct.Pull = GPIO_NOPULL;
  GPIO_InitStruct.Speed = GPIO_SPEED_FREQ_VERY_HIGH;
  GPIO_InitStruct.Alternate = GPIO_AF10_OTG_FS;
  HAL_GPIO_Init(GPIOA, &GPIO_InitStruct);

  /*Configure GPIO pin : USB_VBUS_Pin */
  GPIO_InitStruct.Pin = USB_VBUS_Pin;
  GPIO_InitStruct.Mode = GPIO_MODE_INPUT;
  GPIO_InitStruct.Pull = GPIO_NOPULL;
  HAL_GPIO_Init(USB_VBUS_GPIO_Port, &GPIO_InitStruct);

  /*Configure GPIO pins : RMII_TX_EN_Pin RMII_TXD0_Pin */
  GPIO_InitStruct.Pin = RMII_TX_EN_Pin|RMII_TXD0_Pin;
  GPIO_InitStruct.Mode = GPIO_MODE_AF_PP;
  GPIO_InitStruct.Pull = GPIO_NOPULL;
  GPIO_InitStruct.Speed = GPIO_SPEED_FREQ_VERY_HIGH;
  GPIO_InitStruct.Alternate = GPIO_AF11_ETH;
  HAL_GPIO_Init(GPIOG, &GPIO_InitStruct);

  /* EXTI interrupt init*/
  HAL_NVIC_SetPriority(EXTI4_IRQn, 1, 0);
  HAL_NVIC_EnableIRQ(EXTI4_IRQn);

}

void Error_Handler(void)
{
  __disable_irq();
  while (1)
  {
  }
}
